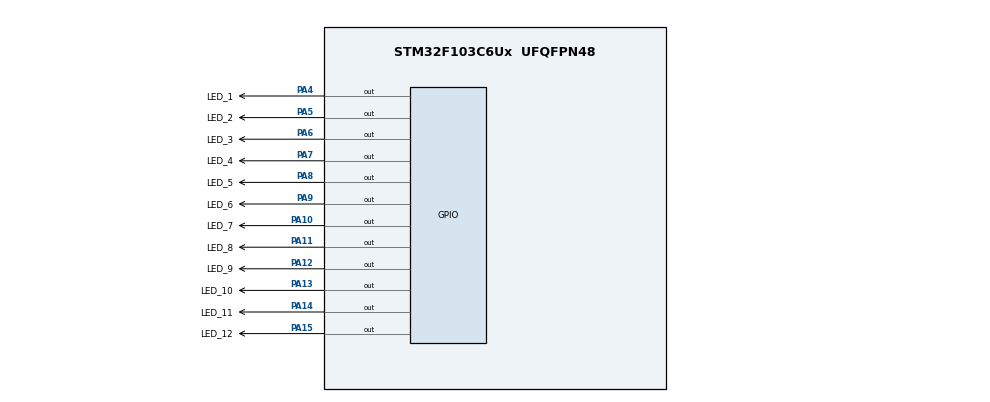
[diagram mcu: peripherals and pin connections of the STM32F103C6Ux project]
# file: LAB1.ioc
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Mcu.Family=STM32F1
Mcu.Name=STM32F103C6Ux
Mcu.Package=UFQFPN48
NVIC.PriorityGroup=NVIC_PRIORITYGROUP_4
PA10.GPIO_Label=LED_7
PA10.Signal=GPIO_Output
PA11.GPIO_Label=LED_8
PA11.Signal=GPIO_Output
PA12.GPIO_Label=LED_9
PA12.Signal=GPIO_Output
PA13.GPIO_Label=LED_10
PA13.Signal=GPIO_Output
PA14.GPIO_Label=LED_11
PA14.Signal=GPIO_Output
PA15.GPIO_Label=LED_12
PA15.Signal=GPIO_Output
PA4.GPIO_Label=LED_1
PA4.Signal=GPIO_Output
PA5.GPIO_Label=LED_2
PA5.Signal=GPIO_Output
PA6.GPIO_Label=LED_3
PA6.Signal=GPIO_Output
PA7.GPIO_Label=LED_4
PA7.Signal=GPIO_Output
PA8.GPIO_Label=LED_5
PA8.Signal=GPIO_Output
PA9.GPIO_Label=LED_6
PA9.Signal=GPIO_Output
ProjectManager.HeapSize=0x200
ProjectManager.StackSize=0x400
ProjectManager.TargetToolchain=STM32CubeIDE
RCC.APB1Freq_Value=8000000
RCC.APB2Freq_Value=8000000
VP_SYS_VS_ND.Mode=No_Debug
board=custom

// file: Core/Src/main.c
/* USER CODE BEGIN Header */
/**
  ******************************************************************************
  * @file           : main.c
  * @brief          : Main program body
  ******************************************************************************
  * @attention
  *
  * <h2><center>&copy; Copyright (c) 2025 STMicroelectronics.
  * All rights reserved.</center></h2>
  *
  * This software component is licensed by ST under BSD 3-Clause license,
  * the "License"; You may not use this file except in compliance with the
  * License. You may obtain a copy of the License at:
  *                        opensource.org/licenses/BSD-3-Clause
  *
  ******************************************************************************
  */
/* USER CODE END Header */
#include "main.h"

void SystemClock_Config(void);
static void MX_GPIO_Init(void);

int main(void)
{

  /* MCU Configuration--------------------------------------------------------*/

  /* Reset of all peripherals, Initializes the Flash interface and the Systick. */
  HAL_Init();

  /* Configure the system clock */
  SystemClock_Config();

  /* Initialize all configured peripherals */
  MX_GPIO_Init();

  /* Infinite loop */
  /* USER CODE BEGIN WHILE */
  uint16_t led[12] = {
        LED_1_Pin, LED_2_Pin, LED_3_Pin, LED_4_Pin,
        LED_5_Pin, LED_6_Pin, LED_7_Pin, LED_8_Pin,
        LED_9_Pin, LED_10_Pin, LED_11_Pin, LED_12_Pin
  };
  void clearNumberOnClock (int num ) {
        HAL_GPIO_WritePin (GPIOA, led[num], SET);
  }
  void setAllClock(void)
  {
      HAL_GPIO_WritePin(GPIOA, LED_1_Pin | LED_2_Pin |
    	   	   	   LED_3_Pin | LED_4_Pin |
				   LED_5_Pin | LED_6_Pin |
				   LED_7_Pin | LED_8_Pin |
				   LED_9_Pin | LED_10_Pin |
				   LED_11_Pin | LED_12_Pin, GPIO_PIN_RESET);
  }

  while (1)
  {
	  setAllClock();
	  clearNumberOnClock(3);
	  HAL_Delay(1000);
	  /* USER CODE END WHILE */

  }
}

void SystemClock_Config(void)
{
  RCC_OscInitTypeDef RCC_OscInitStruct = {0};
  RCC_ClkInitTypeDef RCC_ClkInitStruct = {0};

  /** Initializes the RCC Oscillators according to the specified parameters
  * in the RCC_OscInitTypeDef structure.
  */
  RCC_OscInitStruct.OscillatorType = RCC_OSCILLATORTYPE_HSI;
  RCC_OscInitStruct.HSIState = RCC_HSI_ON;
  RCC_OscInitStruct.HSICalibrationValue = RCC_HSICALIBRATION_DEFAULT;
  RCC_OscInitStruct.PLL.PLLState = RCC_PLL_NONE;
  if (HAL_RCC_OscConfig(&RCC_OscInitStruct) != HAL_OK)
  {
    Error_Handler();
  }
  /** Initializes the CPU, AHB and APB buses clocks
  */
  RCC_ClkInitStruct.ClockType = RCC_CLOCKTYPE_HCLK|RCC_CLOCKTYPE_SYSCLK
                              |RCC_CLOCKTYPE_PCLK1|RCC_CLOCKTYPE_PCLK2;
  RCC_ClkInitStruct.SYSCLKSource = RCC_SYSCLKSOURCE_HSI;
  RCC_ClkInitStruct.AHBCLKDivider = RCC_SYSCLK_DIV1;
  RCC_ClkInitStruct.APB1CLKDivider = RCC_HCLK_DIV1;
  RCC_ClkInitStruct.APB2CLKDivider = RCC_HCLK_DIV1;

  if (HAL_RCC_ClockConfig(&RCC_ClkInitStruct, FLASH_LATENCY_0) != HAL_OK)
  {
    Error_Handler();
  }
}

static void MX_GPIO_Init(void)
{
  GPIO_InitTypeDef GPIO_InitStruct = {0};

  /* GPIO Ports Clock Enable */
  __HAL_RCC_GPIOA_CLK_ENABLE();

  /*Configure GPIO pin Output Level */
  HAL_GPIO_WritePin(GPIOA, LED_1_Pin|LED_2_Pin|LED_3_Pin|LED_4_Pin
                          |LED_5_Pin|LED_6_Pin|LED_7_Pin|LED_8_Pin
                          |LED_9_Pin|LED_10_Pin|LED_11_Pin|LED_12_Pin, GPIO_PIN_RESET);

  /*Configure GPIO pins : LED_1_Pin LED_2_Pin LED_3_Pin LED_4_Pin
                           LED_5_Pin LED_6_Pin LED_7_Pin LED_8_Pin
                           LED_9_Pin LED_10_Pin LED_11_Pin LED_12_Pin */
  GPIO_InitStruct.Pin = LED_1_Pin|LED_2_Pin|LED_3_Pin|LED_4_Pin
                          |LED_5_Pin|LED_6_Pin|LED_7_Pin|LED_8_Pin
                          |LED_9_Pin|LED_10_Pin|LED_11_Pin|LED_12_Pin;
  GPIO_InitStruct.Mode = GPIO_MODE_OUTPUT_PP;
  GPIO_InitStruct.Pull = GPIO_NOPULL;
  GPIO_InitStruct.Speed = GPIO_SPEED_FREQ_LOW;
  HAL_GPIO_Init(GPIOA, &GPIO_InitStruct);

}

void Error_Handler(void)
{
  __disable_irq();
  while (1)
  {
  }
}

/************************ (C) COPYRIGHT STMicroelectronics *****END OF FILE****/
